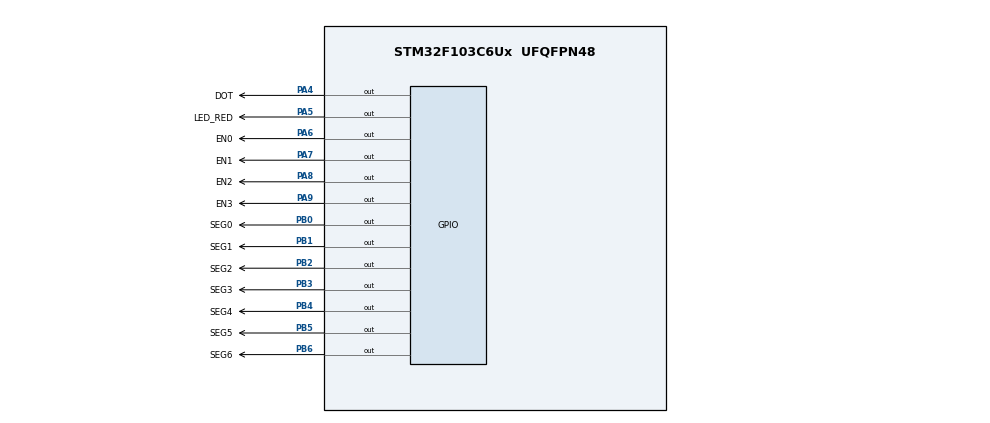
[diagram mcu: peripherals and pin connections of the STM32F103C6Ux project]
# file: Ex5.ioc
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Mcu.Family=STM32F1
Mcu.Name=STM32F103C6Ux
Mcu.Package=UFQFPN48
NVIC.PriorityGroup=NVIC_PRIORITYGROUP_4
NVIC.TIM2_IRQn=true\:0\:0\:false\:false\:true\:true\:true
PA4.GPIO_Label=DOT
PA4.Signal=GPIO_Output
PA5.GPIO_Label=LED_RED
PA5.Signal=GPIO_Output
PA6.GPIO_Label=EN0
PA6.Signal=GPIO_Output
PA7.GPIO_Label=EN1
PA7.Signal=GPIO_Output
PA8.GPIO_Label=EN2
PA8.Signal=GPIO_Output
PA9.GPIO_Label=EN3
PA9.Signal=GPIO_Output
PB0.GPIO_Label=SEG0
PB0.Signal=GPIO_Output
PB1.GPIO_Label=SEG1
PB1.Signal=GPIO_Output
PB2.GPIO_Label=SEG2
PB2.Signal=GPIO_Output
PB3.GPIO_Label=SEG3
PB3.Signal=GPIO_Output
PB4.GPIO_Label=SEG4
PB4.Signal=GPIO_Output
PB5.GPIO_Label=SEG5
PB5.Signal=GPIO_Output
PB6.GPIO_Label=SEG6
PB6.Signal=GPIO_Output
ProjectManager.HeapSize=0x200
ProjectManager.StackSize=0x400
ProjectManager.TargetToolchain=STM32CubeIDE
RCC.APB1Freq_Value=8000000
RCC.APB2Freq_Value=8000000
TIM2.Period=9
TIM2.Prescaler=7999
VP_SYS_VS_ND.Mode=No_Debug
VP_TIM2_VS_ClockSourceINT.Mode=Internal
board=custom

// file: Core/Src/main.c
/* USER CODE BEGIN Header */
/**
  ******************************************************************************
  * @file           : main.c
  * @brief          : Main program body
  ******************************************************************************
  * @attention
  *
  * <h2><center>&copy; Copyright (c) 2022 STMicroelectronics.
  * All rights reserved.</center></h2>
  *
  * This software component is licensed by ST under BSD 3-Clause license,
  * the "License"; You may not use this file except in compliance with the
  * License. You may obtain a copy of the License at:
  *                        opensource.org/licenses/BSD-3-Clause
  *
  ******************************************************************************
  */
/* USER CODE END Header */
#include "main.h"

/* USER CODE BEGIN Includes */
#include "LED.h"
#include "HARDWARECONTROL.h"
/* USER CODE END Includes */

TIM_HandleTypeDef htim2;

void SystemClock_Config(void);
static void MX_GPIO_Init(void);
static void MX_TIM2_Init(void);

int main(void)
{

  /* MCU Configuration--------------------------------------------------------*/

  /* Reset of all peripherals, Initializes the Flash interface and the Systick. */
  HAL_Init();

  /* Configure the system clock */
  SystemClock_Config();

  /* Initialize all configured peripherals */
  MX_GPIO_Init();
  MX_TIM2_Init();
  /* USER CODE BEGIN 2 */
  HAL_TIM_Base_Start_IT(&htim2);
  initGPIO();
  /* USER CODE END 2 */

  /* Infinite loop */
  while (1)
  {
	    second++;
	    if(second >= 60)
	    {
	      second = 0;
	      minute++;
	    }
	    if(minute >= 60)
	    {
	      minute = 0;
	      hour++;
	    }
	    if(hour >= 24)
	    {
	      hour = 0;
	    }
	    updateClockBuffer();
	    HAL_Delay(1000);
  }
}

void SystemClock_Config(void)
{
  RCC_OscInitTypeDef RCC_OscInitStruct = {0};
  RCC_ClkInitTypeDef RCC_ClkInitStruct = {0};

  /** Initializes the RCC Oscillators according to the specified parameters
  * in the RCC_OscInitTypeDef structure.
  */
  RCC_OscInitStruct.OscillatorType = RCC_OSCILLATORTYPE_HSI;
  RCC_OscInitStruct.HSIState = RCC_HSI_ON;
  RCC_OscInitStruct.HSICalibrationValue = RCC_HSICALIBRATION_DEFAULT;
  RCC_OscInitStruct.PLL.PLLState = RCC_PLL_NONE;
  if (HAL_RCC_OscConfig(&RCC_OscInitStruct) != HAL_OK)
  {
    Error_Handler();
  }
  /** Initializes the CPU, AHB and APB buses clocks
  */
  RCC_ClkInitStruct.ClockType = RCC_CLOCKTYPE_HCLK|RCC_CLOCKTYPE_SYSCLK
                              |RCC_CLOCKTYPE_PCLK1|RCC_CLOCKTYPE_PCLK2;
  RCC_ClkInitStruct.SYSCLKSource = RCC_SYSCLKSOURCE_HSI;
  RCC_ClkInitStruct.AHBCLKDivider = RCC_SYSCLK_DIV1;
  RCC_ClkInitStruct.APB1CLKDivider = RCC_HCLK_DIV1;
  RCC_ClkInitStruct.APB2CLKDivider = RCC_HCLK_DIV1;

  if (HAL_RCC_ClockConfig(&RCC_ClkInitStruct, FLASH_LATENCY_0) != HAL_OK)
  {
    Error_Handler();
  }
}

static void MX_TIM2_Init(void)
{

  TIM_ClockConfigTypeDef sClockSourceConfig = {0};
  TIM_MasterConfigTypeDef sMasterConfig = {0};

  htim2.Instance = TIM2;
  htim2.Init.Prescaler = 7999;
  htim2.Init.CounterMode = TIM_COUNTERMODE_UP;
  htim2.Init.Period = 9;
  htim2.Init.ClockDivision = TIM_CLOCKDIVISION_DIV1;
  htim2.Init.AutoReloadPreload = TIM_AUTORELOAD_PRELOAD_DISABLE;
  if (HAL_TIM_Base_Init(&htim2) != HAL_OK)
  {
    Error_Handler();
  }
  sClockSourceConfig.ClockSource = TIM_CLOCKSOURCE_INTERNAL;
  if (HAL_TIM_ConfigClockSource(&htim2, &sClockSourceConfig) != HAL_OK)
  {
    Error_Handler();
  }
  sMasterConfig.MasterOutputTrigger = TIM_TRGO_RESET;
  sMasterConfig.MasterSlaveMode = TIM_MASTERSLAVEMODE_DISABLE;
  if (HAL_TIMEx_MasterConfigSynchronization(&htim2, &sMasterConfig) != HAL_OK)
  {
    Error_Handler();
  }

}

static void MX_GPIO_Init(void)
{
  GPIO_InitTypeDef GPIO_InitStruct = {0};

  /* GPIO Ports Clock Enable */
  __HAL_RCC_GPIOA_CLK_ENABLE();
  __HAL_RCC_GPIOB_CLK_ENABLE();

  /*Configure GPIO pin Output Level */
  HAL_GPIO_WritePin(GPIOA, DOT_Pin|LED_RED_Pin|EN0_Pin|EN1_Pin
                          |EN2_Pin|EN3_Pin, GPIO_PIN_RESET);

  /*Configure GPIO pin Output Level */
  HAL_GPIO_WritePin(GPIOB, SEG0_Pin|SEG1_Pin|SEG2_Pin|SEG3_Pin
                          |SEG4_Pin|SEG5_Pin|SEG6_Pin, GPIO_PIN_RESET);

  /*Configure GPIO pins : DOT_Pin LED_RED_Pin EN0_Pin EN1_Pin
                           EN2_Pin EN3_Pin */
  GPIO_InitStruct.Pin = DOT_Pin|LED_RED_Pin|EN0_Pin|EN1_Pin
                          |EN2_Pin|EN3_Pin;
  GPIO_InitStruct.Mode = GPIO_MODE_OUTPUT_PP;
  GPIO_InitStruct.Pull = GPIO_NOPULL;
  GPIO_InitStruct.Speed = GPIO_SPEED_FREQ_LOW;
  HAL_GPIO_Init(GPIOA, &GPIO_InitStruct);

  /*Configure GPIO pins : SEG0_Pin SEG1_Pin SEG2_Pin SEG3_Pin
                           SEG4_Pin SEG5_Pin SEG6_Pin */
  GPIO_InitStruct.Pin = SEG0_Pin|SEG1_Pin|SEG2_Pin|SEG3_Pin
                          |SEG4_Pin|SEG5_Pin|SEG6_Pin;
  GPIO_InitStruct.Mode = GPIO_MODE_OUTPUT_PP;
  GPIO_InitStruct.Pull = GPIO_NOPULL;
  GPIO_InitStruct.Speed = GPIO_SPEED_FREQ_LOW;
  HAL_GPIO_Init(GPIOB, &GPIO_InitStruct);

}

/* USER CODE BEGIN 4 */
int counter = 25;
int led_counter = 100;
void HAL_TIM_PeriodElapsedCallback(TIM_HandleTypeDef *htim){
  if(counter > 0)
  {
    counter--;
    if(counter <= 0)
    {
    	update7SEG(index_led);
    	index_led++;
    	if(index_led > 3) index_led = 0;
    	counter = 25;
    }
  }
  if(led_counter > 0)
  {
    led_counter--;
    if(led_counter <= 0)
    {
      led_counter = 100;
      blinkLED();
    }
  }
}
/* USER CODE END 4 */

void Error_Handler(void)
{
  __disable_irq();
  while (1)
  {
  }
}

/************************ (C) COPYRIGHT STMicroelectronics *****END OF FILE****/
